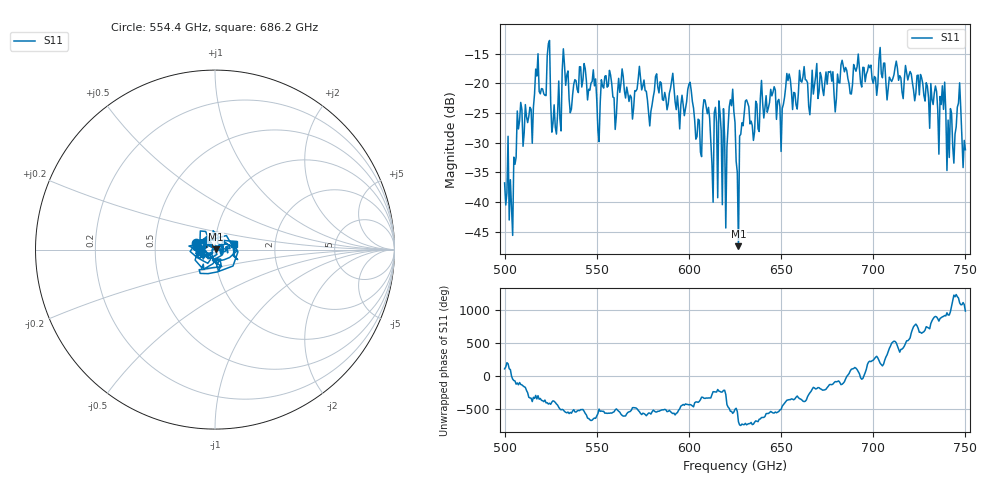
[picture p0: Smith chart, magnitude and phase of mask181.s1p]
!Created with skrf (http://scikit-rf.org).
# GHz S MA R 50.0
!freq magS11 angS11
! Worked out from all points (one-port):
!   401 points, 500 GHz to 750 GHz, reference 50 ohm
!   lowest |S11| = -47.4 dB at 626.9 GHz (marker M1), VSWR 1.01, Z = 50.4 + j0.224 ohm
!   |S11| at or under -10 dB: start of sweep to end of sweep
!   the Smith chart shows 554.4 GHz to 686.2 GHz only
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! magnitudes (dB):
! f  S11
! 500 GHz  -36.8
! 503.8 GHz  -41.1
! 508.1 GHz  -26.3
! 513.8 GHz  -24.0
! 517.5 GHz  -18.8
! 523.8 GHz  -13.3
! 526.9 GHz  -23.6
! 531.2 GHz  -17.8
! 548.1 GHz  -17.7
! 551.2 GHz  -29.8
! 562.5 GHz  -21.5
! 593.8 GHz  -22.1
! 600.6 GHz  -19.8
! 605.6 GHz  -26.2
! 609.4 GHz  -24.0
! 611.9 GHz  -29.7
! 619.4 GHz  -29.1
! 622.5 GHz  -22.8
! 625 GHz  -26.6
! 626.9 GHz  -47.4
! 631.2 GHz  -22.8
! 656.2 GHz  -24.4
! 687.5 GHz  -21.8
! 718.8 GHz  -19.5
! 737.5 GHz  -20.4
! 742.5 GHz  -25.0
! 746.2 GHz  -23.3
! 750 GHz  -31.2
